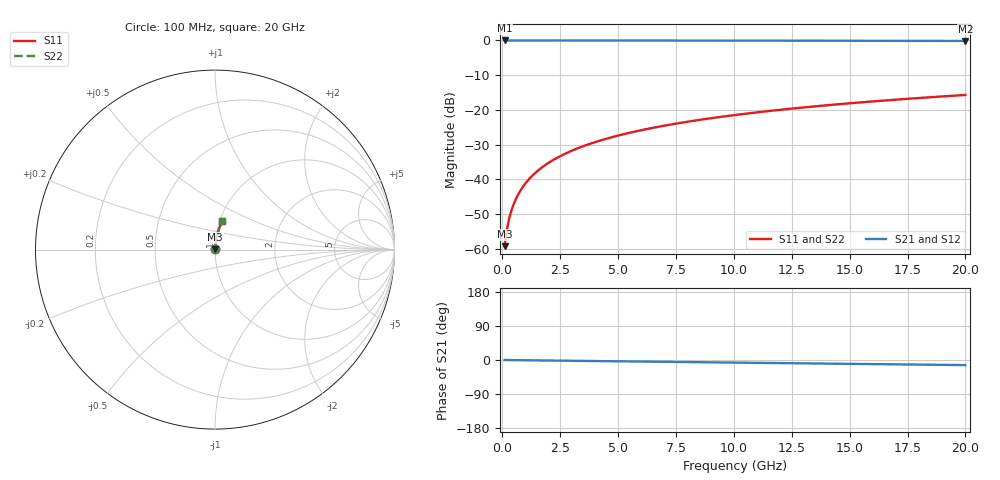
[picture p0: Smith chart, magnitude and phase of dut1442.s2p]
! Touchstone file exported from HFSS 2026.1.0
!  File:  C:/ffzhzh/LocalFiles/Ansys_Project_Files/temp_train_BSMRDL_1442_1783180570_18472.aedt
!  Generated:  11:57:20 PM Jul  4, 2026
!  Design:  BSMRDL
!  Project:  temp_train_BSMRDL_1442_1783180570_18472
! Variables:
!  h_bsmrdl = 5.69um
!  h_ox = 20um
!  h_rdl = 5um
!  h_sub = 80um
!  h_tmrdl = 5um
!  h_tsv = 80um
!  h_via = 3um
!  l_bsmrdl = 133.57um
!  l_sub = 533.57um
!  l_tmrdl = 200um
!  m_sub = 200um
!  pitch = 57um
!  r_tsv = 6um
!  s_tmrdl = 10um
!  w_bsmrdl = 16.38um
!  w_sub = 500um
!  w_tmrdl = 12um
!  x_tsv_center1 = 206um
!  x_tsv_center2 = 355.95um
!  x_tsv_center3 = 567.95um
!  x_tsv_center4 = 717.9um
!  x_tsv_center5 = 929.9um
!  x_tsv_center6 = 1079.85um
# GHz S MA R 50.000000
! Terminal data exported
! Port[1] = BSM_RDL1_1_T1
! Port[2] = BSM_RDL1_1_T2
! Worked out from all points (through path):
!   200 points, 100 MHz to 20 GHz, reference 50 ohm
!   highest |S21| = -0.01 dB at 100 MHz (marker M1); lowest = -0.1 dB at 20 GHz (marker M2)
!   group delay of S21, straight-line fit = 1.87 ps
!   lowest |S11| = -59.2 dB at 100 MHz (marker M3), VSWR 1.00, Z = 50.1 + j0.0902 ohm
!   |S11| at or under -10 dB: start of sweep to end of sweep
!   |S22| runs from -59.2 to -15.7 dB; largest |S21 - S12| = 3.5e-15
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0.1  0.001096 55.3  0.9994 -0.1  0.9994 -0.1  0.001096 55.3
! Gamma 0 0 0 0
! Port Impedance 50 0 50 0
0.2  0.001907 70.1  0.9994 -0.1  0.9994 -0.1  0.001907 70.1
0.3  0.002759 75.8  0.9993 -0.2  0.9993 -0.2  0.002759 75.8
0.4  0.003617 78.7  0.9993 -0.3  0.9993 -0.3  0.003617 78.7
0.5  0.004474 80.4  0.9993 -0.4  0.9993 -0.4  0.004474 80.4
0.7  0.006189 82.5  0.9992 -0.5  0.9992 -0.5  0.006189 82.5
0.8  0.007046 83.2  0.9992 -0.6  0.9992 -0.6  0.007046 83.2
1  0.008763 84.1  0.9991 -0.7  0.9991 -0.7  0.008763 84.1
1.2  0.01048 84.7  0.9991 -0.8  0.9991 -0.8  0.01048 84.7
1.4  0.0122 85.0  0.9991 -1.0  0.9991 -1.0  0.0122 85.0
1.7  0.01477 85.3  0.999 -1.2  0.999 -1.2  0.01477 85.3
2  0.01735 85.5  0.9989 -1.4  0.9989 -1.4  0.01735 85.5
2.7  0.02333 85.5  0.9986 -1.9  0.9986 -1.9  0.02333 85.5
3.5  0.03013 85.2  0.9983 -2.4  0.9983 -2.4  0.03013 85.2
4.2  0.03604 84.9  0.998 -2.9  0.998 -2.9  0.03604 84.9
5  0.04276 84.5  0.9976 -3.5  0.9976 -3.5  0.04276 84.5
6.8  0.05775 83.5  0.9965 -4.7  0.9965 -4.7  0.05775 83.5
8.3  0.07015 82.6  0.9955 -5.7  0.9955 -5.7  0.07015 82.6
10.1  0.08493 81.5  0.9941 -6.9  0.9941 -6.9  0.08493 81.5
13.4  0.1118 79.5  0.9911 -9.1  0.9911 -9.1  0.1118 79.5
16.7  0.1382 77.5  0.9875 -11.3  0.9875 -11.3  0.1382 77.5
20  0.1642 75.4  0.9832 -13.5  0.9832 -13.5  0.1642 75.4
